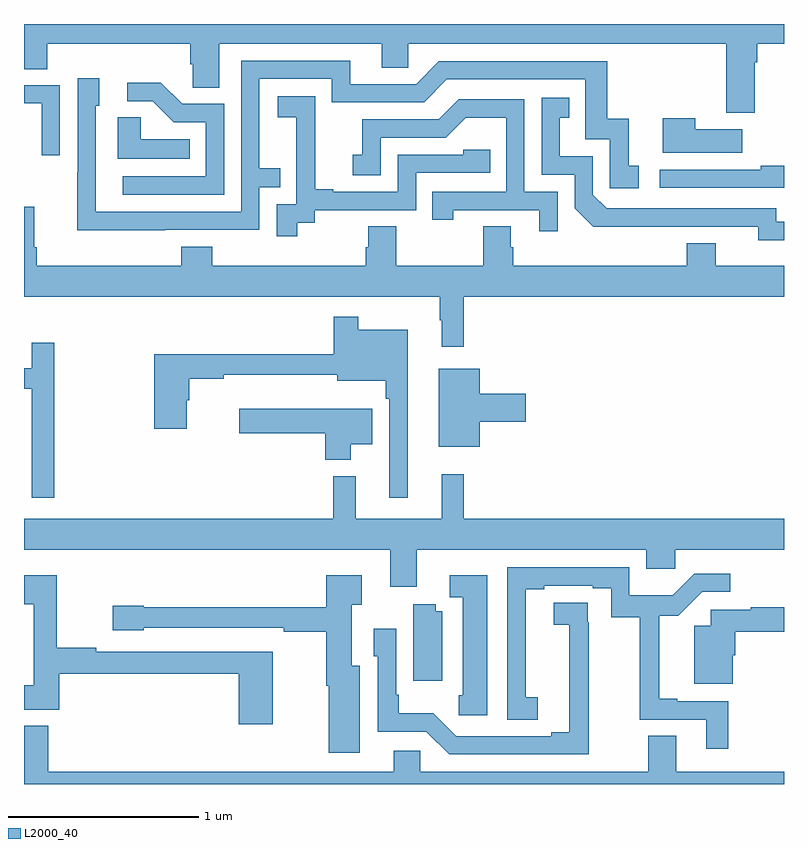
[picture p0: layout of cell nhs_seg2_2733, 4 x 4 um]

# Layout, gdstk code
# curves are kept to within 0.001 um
import gdstk
lib = gdstk.Library(unit=1e-6, precision=1e-09)
def P(c, l, *ps):  # polygons
    for p in ps: c.add(gdstk.Polygon(p, *l))
L2000_40 = (2000, 40)

nhs_seg2_2733 = lib.new_cell('nhs_seg2_2733')
P(nhs_seg2_2733, L2000_40, [(255,587.563),(255.122,587.563),(255.122,587.696),(255.875,587.696),(255.875,587.587),(255.888,587.587),(255.888,587.464),(256.027,587.464),(256.027,587.696),(256.883,587.696),(256.883,587.569),(257.022,587.569),(257.022,587.696),(258.695,587.696),(258.695,587.334),(258.847,587.334),(258.847,587.6),(258.86,587.6),(258.86,587.696),(259,587.696),(259,587.8),(255,587.8)],
  [(255.743,586.716),(256.239,586.716),(256.239,586.941),(256.349,586.941),(256.349,587.042),(256.239,587.042),(256.239,587.511),(256.62,587.511),(256.62,587.388),(257.106,587.388),(257.226,587.508),(257.955,587.508),(257.955,587.193),(258.084,587.193),(258.084,586.935),(258.235,586.935),(258.235,587.055),(258.182,587.055),(258.182,587.302),(258.071,587.302),(258.071,587.604),(257.184,587.604),(257.064,587.484),(256.717,587.484),(256.717,587.607),(256.143,587.607),(256.143,586.812),(255.378,586.812),(255.378,587.37),(255.397,587.37),(255.397,587.515),(255.282,587.515),(255.282,587.021),(255.28,587.021),(255.28,586.715)],
  [(256.053,587.379),(255.834,587.379),(255.721,587.492),(255.543,587.492),(255.543,587.394),(255.677,587.394),(255.788,587.283),(255.957,587.283),(255.957,586.998),(255.519,586.998),(255.519,586.902),(256.053,586.902)],
  [(255.189,587.478),(255,587.478),(255,587.382),(255.093,587.382),(255.093,587.109),(255.189,587.109)],
  [(256.438,586.753),(256.53,586.753),(256.53,586.821),(257.064,586.821),(257.064,587.016),(257.453,587.016),(257.453,587.139),(257.313,587.139),(257.313,587.112),(256.968,587.112),(256.968,586.917),(256.627,586.917),(256.627,586.93),(256.532,586.93),(256.532,587.213),(256.533,587.213),(256.533,587.419),(256.335,587.419),(256.335,587.309),(256.433,587.309),(256.433,587.081),(256.434,587.081),(256.434,586.851),(256.329,586.851),(256.329,586.683),(256.438,586.683)],
  [(259,586.758),(258.96,586.758),(258.96,586.83),(258.066,586.83),(257.994,586.902),(257.994,587.103),(257.821,587.103),(257.821,587.307),(257.87,587.307),(257.87,587.413),(257.724,587.413),(257.724,587.007),(257.898,587.007),(257.898,586.83),(257.996,586.733),(258.864,586.734),(258.864,586.661),(259,586.661)],
  [(257.808,586.917),(257.634,586.917),(257.634,587.403),(257.288,587.403),(257.183,587.298),(256.779,587.298),(256.779,587.113),(256.731,587.113),(256.731,587.004),(256.878,587.004),(256.878,587.202),(257.22,587.202),(257.324,587.306),(257.538,587.306),(257.538,586.917),(257.149,586.917),(257.149,586.77),(257.26,586.77),(257.26,586.821),(257.711,586.821),(257.711,586.71),(257.808,586.71)],
  [(255.872,587.194),(255.615,587.194),(255.615,587.309),(255.494,587.309),(255.494,587.09),(255.872,587.09)],
  [(258.781,587.245),(258.533,587.245),(258.533,587.305),(258.362,587.305),(258.362,587.123),(258.781,587.123)],
  [(259,587.054),(258.877,587.054),(258.877,587.034),(258.345,587.034),(258.345,586.938),(259,586.938)],
  [(257.315,586.364),(259,586.364),(259,586.528),(258.64,586.528),(258.64,586.645),(258.488,586.645),(258.488,586.528),(257.576,586.528),(257.576,586.626),(257.563,586.626),(257.563,586.736),(257.416,586.736),(257.416,586.528),(256.959,586.528),(256.959,586.736),(256.811,586.736),(256.811,586.626),(256.799,586.626),(256.799,586.528),(255.992,586.528),(255.992,586.627),(255.827,586.627),(255.827,586.528),(255.068,586.528),(255.068,586.624),(255.055,586.624),(255.055,586.837),(255,586.837),(255,586.364),(257.187,586.364),(257.187,586.241),(257.198,586.241),(257.198,586.101),(257.315,586.101)],
  [(257.02,586.192),(256.759,586.192),(256.759,586.258),(256.63,586.258),(256.63,586.063),(255.686,586.063),(255.686,585.669),(255.856,585.669),(255.856,585.819),(255.869,585.819),(255.869,585.934),(256.052,585.934),(256.052,585.953),(256.649,585.953),(256.649,585.923),(256.903,585.923),(256.903,585.827),(256.923,585.827),(256.923,585.306),(257.02,585.306)],
  [(255.158,586.123),(255.041,586.123),(255.041,585.988),(255,585.988),(255,585.879),(255.042,585.879),(255.042,585.306),(255.158,585.306)],
  [(257.398,585.707),(257.641,585.707),(257.641,585.854),(257.398,585.854),(257.398,585.985),(257.183,585.985),(257.183,585.575),(257.398,585.575)],
  [(256.72,585.587),(256.834,585.587),(256.834,585.775),(256.134,585.775),(256.134,585.646),(256.586,585.646),(256.586,585.506),(256.72,585.506)],
  [(257.068,585.032),(258.275,585.032),(258.275,584.934),(258.427,584.934),(258.427,585.032),(259,585.032),(259,585.196),(257.315,585.196),(257.315,585.43),(257.198,585.43),(257.198,585.196),(256.745,585.196),(256.745,585.421),(256.627,585.421),(256.627,585.196),(255,585.196),(255,585.032),(256.928,585.032),(256.928,584.838),(257.068,584.838)],
  [(258.707,584.235),(258.439,584.235),(258.439,584.248),(258.344,584.248),(258.344,584.685),(258.443,584.685),(258.57,584.811),(258.718,584.811),(258.718,584.907),(258.528,584.907),(258.415,584.794),(258.186,584.794),(258.186,584.94),(257.544,584.94),(257.544,584.137),(257.704,584.137),(257.704,584.257),(257.642,584.257),(257.641,584.824),(257.737,584.824),(257.737,584.844),(257.993,584.844),(257.993,584.83),(258.09,584.83),(258.09,584.677),(258.241,584.677),(258.241,584.139),(258.59,584.139),(258.59,583.986),(258.707,583.986)],
  [(256.768,584.422),(256.726,584.422),(256.726,584.743),(256.777,584.743),(256.777,584.899),(256.592,584.899),(256.592,584.731),(255.63,584.731),(255.63,584.739),(255.468,584.739),(255.468,584.609),(255.63,584.609),(255.63,584.622),(256.366,584.622),(256.366,584.602),(256.592,584.602),(256.592,584.318),(256.604,584.318),(256.604,583.965),(256.768,583.965)],
  [(257.437,584.899),(257.241,584.899),(257.241,584.784),(257.309,584.784),(257.309,584.268),(257.287,584.268),(257.287,584.163),(257.437,584.163)],
  [(256.308,584.496),(255.38,584.496),(255.38,584.516),(255.172,584.516),(255.172,584.899),(255,584.899),(255,584.747),(255.05,584.747),(255.05,584.32),(255,584.32),(255,584.192),(255.185,584.192),(255.185,584.38),(256.13,584.38),(256.13,584.115),(256.308,584.115)],
  [(257.972,584.651),(257.966,584.651),(257.966,584.753),(257.787,584.753),(257.787,584.638),(257.869,584.638),(257.87,584.072),(257.774,584.072),(257.774,584.052),(257.274,584.052),(257.153,584.173),(256.972,584.173),(256.972,584.269),(256.959,584.269),(256.959,584.617),(256.842,584.617),(256.842,584.472),(256.863,584.472),(256.863,584.076),(257.118,584.076),(257.238,583.956),(257.972,583.956)],
  [(257.2,584.71),(257.168,584.71),(257.168,584.747),(257.048,584.747),(257.048,584.343),(257.2,584.343)],
  [(258.73,584.478),(258.743,584.478),(258.743,584.602),(259,584.602),(259,584.731),(258.826,584.731),(258.826,584.718),(258.615,584.718),(258.615,584.632),(258.527,584.632),(258.527,584.327),(258.73,584.327)],
  [(259,583.864),(258.433,583.864),(258.433,584.054),(258.286,584.054),(258.286,583.864),(257.085,583.864),(257.085,583.974),(256.946,583.974),(256.946,583.864),(255.128,583.864),(255.128,584.107),(255,584.107),(255,583.8),(259,583.8)])

lib.write_gds('nhs_seg2_2733.gds')
